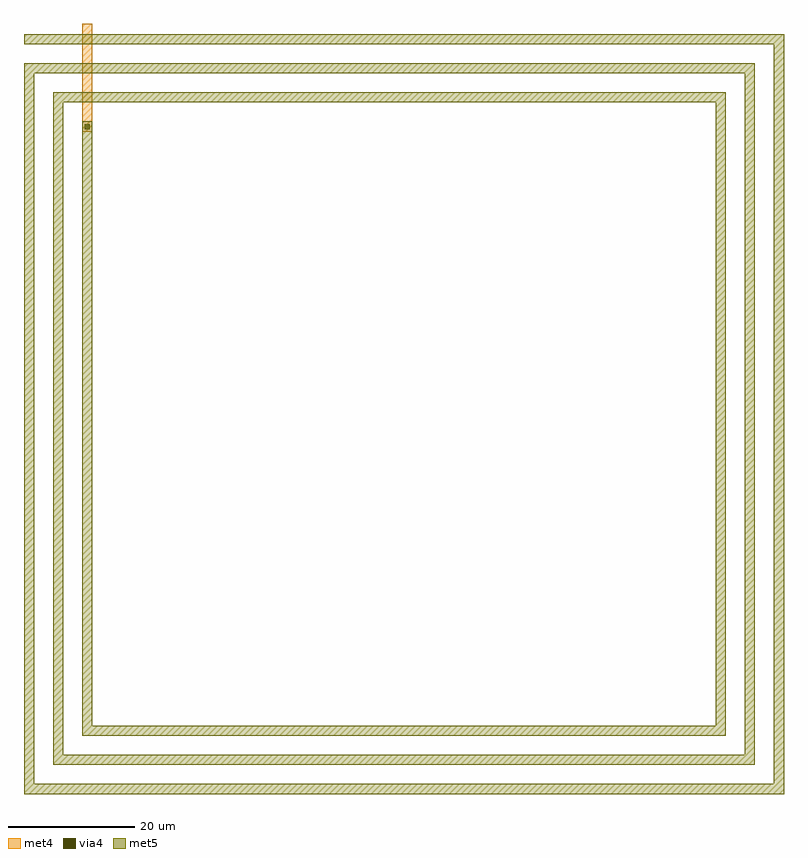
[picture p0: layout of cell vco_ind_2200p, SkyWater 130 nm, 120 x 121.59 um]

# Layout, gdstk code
import gdstk
lib = gdstk.Library(unit=1e-6, precision=1e-09)
def R(c, l, rs):  # rectangles x0, y0, x1, y1
    for r in rs: c.add(gdstk.rectangle(r[:2], r[2:], *l))
def P(c, l, *ps):  # polygons
    for p in ps: c.add(gdstk.Polygon(p, *l))
met4 = (71, 20)
via4 = (71, 44)
met5 = (72, 20)

vco_ind_2200p = lib.new_cell('vco_ind_2200p')
R(vco_ind_2200p, met4, [(109.19,204.59,110.79,221.59), (109.205,204.595,110.795,206.185)])
R(vco_ind_2200p, via4, [(109.59,204.99,110.39,205.79)])
R(vco_ind_2200p, met5, [(109.205,204.595,110.795,206.185)])
P(vco_ind_2200p, met5, [(100,218.4),(100,220),(220,220),(218.4,218.4)],
  [(220,100),(218.4,101.6),(218.4,218.4),(220,220)],
  [(100,100),(101.6,101.6),(218.4,101.6),(220,100)],
  [(100,100),(100,215.4),(101.6,213.79),(101.6,101.6)],
  [(101.6,213.79),(100,215.4),(215.4,215.4),(213.79,213.79)],
  [(215.4,104.59),(213.79,106.19),(213.79,213.79),(215.4,215.4)],
  [(104.59,104.59),(106.19,106.19),(213.79,106.19),(215.4,104.59)],
  [(104.59,104.59),(104.59,210.79),(106.19,209.2),(106.19,106.19)],
  [(106.2,209.2),(104.59,210.79),(210.79,210.79),(209.2,209.2)],
  [(210.79,109.19),(209.2,110.79),(209.2,209.2),(210.79,210.79)],
  [(109.19,109.19),(110.79,110.79),(209.2,110.79),(210.79,109.19)],
  [(109.19,109.19),(109.19,206.19),(110.79,206.19),(110.79,110.79)])

lib.write_gds('vco_ind_2200p.gds')
